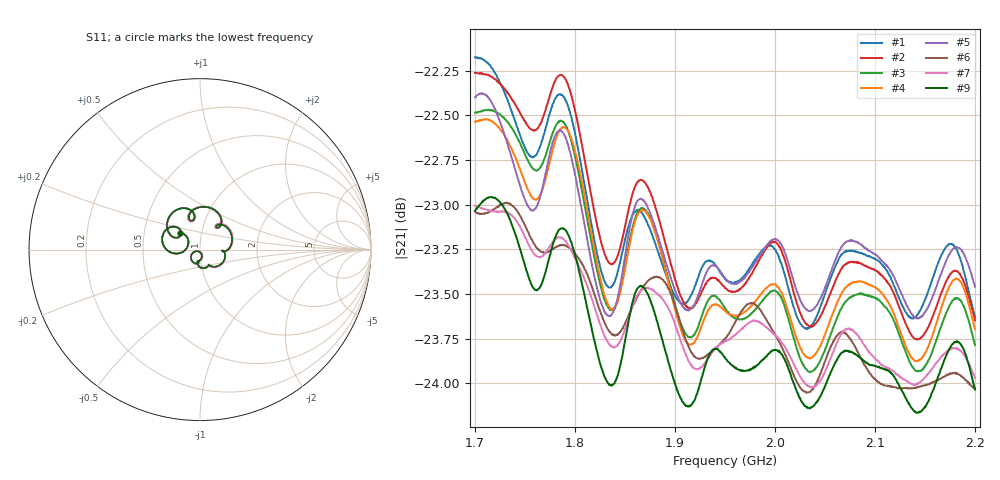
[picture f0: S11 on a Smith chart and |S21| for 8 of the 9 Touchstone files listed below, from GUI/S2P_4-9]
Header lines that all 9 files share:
# Hz S RI R 50
! CMT, CMT808U, 21440046, 21.4.3/4
! Data: Format (Calibration Info)
! Freq	S11:Re/Im(F2)	S41:Re/Im(F2)	S14:Re/Im(F2)	S44:Re/Im(F2)
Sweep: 1.7 GHz to 2.2 GHz
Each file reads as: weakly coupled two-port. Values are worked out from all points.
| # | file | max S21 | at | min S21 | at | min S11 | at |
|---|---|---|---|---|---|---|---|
| 1 | Port1.s2p | -22.18 dB | 1.7 GHz | -23.7 dB | 2.032 GHz | -37.5 dB | 2.179 GHz |
| 2 | Port2.s2p | -22.26 dB | 1.701 GHz | -23.8 dB | 2.143 GHz | -37.8 dB | 2.179 GHz |
| 3 | Port3.s2p | -22.47 dB | 1.714 GHz | -23.9 dB | 2.035 GHz | -38.4 dB | 2.179 GHz |
| 4 | Port4.s2p | -22.52 dB | 1.71 GHz | -23.9 dB | 2.141 GHz | -37.8 dB | 2.179 GHz |
| 5 | Port5.s2p | -22.38 dB | 1.706 GHz | -23.6 dB | 2.143 GHz | -37.6 dB | 2.179 GHz |
| 6 | Port11.s2p | -22.99 dB | 1.732 GHz | -24.1 dB | 2.031 GHz | -37.8 dB | 2.179 GHz |
| 7 | Port12.s2p | -23.01 dB | 1.7 GHz | -24.0 dB | 2.038 GHz | -39.3 dB | 2.178 GHz |
| 8 | Port14.s2p | -22.69 dB | 1.713 GHz | -24.0 dB | 2.143 GHz | -38.0 dB | 2.179 GHz |
| 9 | Port16.s2p | -22.96 dB | 1.716 GHz | -24.2 dB | 2.142 GHz | -37.5 dB | 2.179 GHz |
